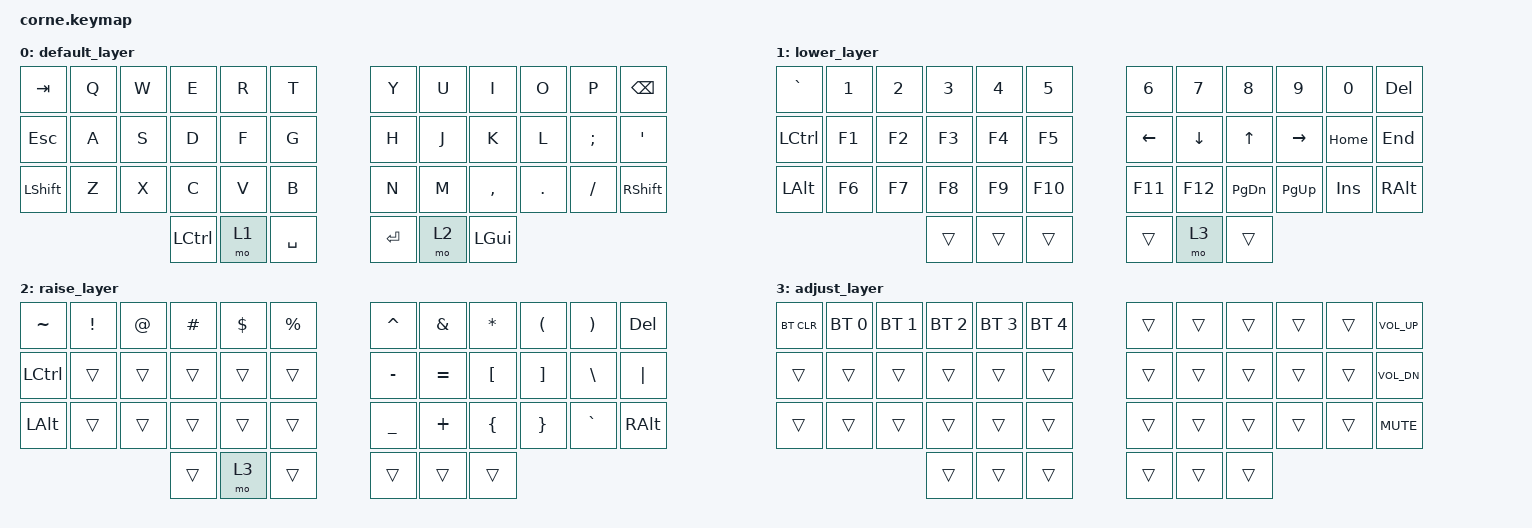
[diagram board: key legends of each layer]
#include <behaviors.dtsi>
#include <dt-bindings/zmk/keys.h>
#include <dt-bindings/zmk/bt.h>

/ {
    keymap {
        compatible = "zmk,keymap";
        
        // Base layer: Pure QWERTY for familiarity
        default_layer {
            bindings = <
                &kp TAB   &kp Q   &kp W   &kp E   &kp R   &kp T       &kp Y   &kp U   &kp I     &kp O   &kp P    &kp BSPC
                &kp ESC   &kp A   &kp S   &kp D   &kp F   &kp G       &kp H   &kp J   &kp K     &kp L   &kp SEMI &kp SQT
                &kp LSHFT &kp Z   &kp X   &kp C   &kp V   &kp B       &kp N   &kp M   &kp COMMA &kp DOT &kp FSLH &kp RSHFT
                                  &kp LCTRL &mo 1   &kp SPACE         &kp RET &mo 2   &kp LGUI
            >;
        };

        // Layer 1: Numbers, Navigation & Gaming
        lower_layer {
            bindings = <
                &kp GRAVE &kp N1  &kp N2  &kp N3  &kp N4  &kp N5      &kp N6   &kp N7   &kp N8    &kp N9   &kp N0   &kp DEL
                &kp LCTRL &kp F1  &kp F2  &kp F3  &kp F4  &kp F5      &kp LEFT &kp DOWN &kp UP    &kp RIGHT &kp HOME &kp END
                &kp LALT  &kp F6  &kp F7  &kp F8  &kp F9  &kp F10     &kp F11  &kp F12  &kp PG_DN &kp PG_UP &kp INS  &kp RALT
                                  &trans  &trans  &trans              &trans   &mo 3    &trans
            >;
        };

        // Layer 2: Symbols & Programming
        raise_layer {
            bindings = <
                &kp TILDE &kp EXCL &kp AT &kp HASH &kp DLLR &kp PRCNT   &kp CARET &kp AMPS &kp STAR &kp LPAR &kp RPAR &kp DEL
                &kp LCTRL &trans   &trans &trans   &trans   &trans      &kp MINUS &kp EQUAL &kp LBKT &kp RBKT &kp BSLH &kp PIPE
                &kp LALT  &trans   &trans &trans   &trans   &trans      &kp UNDER &kp PLUS  &kp LBRC &kp RBRC &kp GRAVE &kp RALT
                                   &trans &mo 3    &trans               &trans    &trans    &trans
            >;
        };

        // Layer 3: System & Bluetooth
        adjust_layer {
            bindings = <
                &bt BT_CLR &bt BT_SEL 0 &bt BT_SEL 1 &bt BT_SEL 2 &bt BT_SEL 3 &bt BT_SEL 4   &trans &trans &trans &trans &trans &kp C_VOL_UP
                &trans     &trans       &trans       &trans       &trans       &trans         &trans &trans &trans &trans &trans &kp C_VOL_DN
                &trans     &trans       &trans       &trans       &trans       &trans         &trans &trans &trans &trans &trans &kp C_MUTE
                                        &trans       &trans       &trans                      &trans &trans &trans
            >;
        };
    };
};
